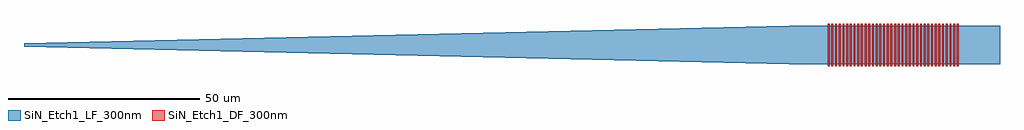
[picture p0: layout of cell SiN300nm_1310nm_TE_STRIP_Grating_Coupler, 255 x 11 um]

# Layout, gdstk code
import gdstk
lib = gdstk.Library(unit=1e-6, precision=1e-09)
def R(c, l, rs):  # rectangles x0, y0, x1, y1
    for r in rs: c.add(gdstk.rectangle(r[:2], r[2:], *l))
def A(c, l, x, y, w, h, nx, ny, dx, dy):  # array of equal rectangles
    R(c, l, [(x+i*dx, y+j*dy, x+i*dx+w, y+j*dy+h) for i in range(nx) for j in range(ny)])
def P(c, l, *ps):  # polygons
    for p in ps: c.add(gdstk.Polygon(p, *l))
SiN_Etch1_LF_300nm = (203, 0)
SiN_Etch1_DF_300nm = (204, 0)

sin300nm_1310nm_te_strip = lib.new_cell('SiN300nm_1310nm_TE_STRIP_Grating_Coupler')
P(sin300nm_1310nm_te_strip, SiN_Etch1_LF_300nm, [(200,-5),(0,-0.475),(0,0.475),(200,5),(255,5),(255,-5)])
A(sin300nm_1310nm_te_strip, SiN_Etch1_DF_300nm, 210, -5.5, 0.482, 11, 36, 1, 0.964, 0)

lib.write_gds('SiN300nm_1310nm_TE_STRIP_Grating_Coupler.gds')
